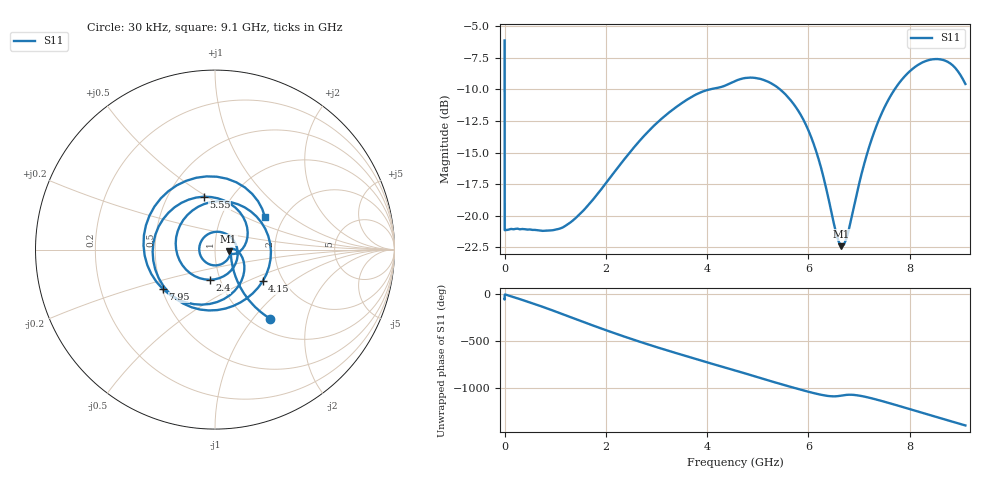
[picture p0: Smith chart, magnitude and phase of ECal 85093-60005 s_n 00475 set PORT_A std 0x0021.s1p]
!Created with skrf (http://scikit-rf.org).
# Hz S RI R 50.0
!freq ReS11 ImS11
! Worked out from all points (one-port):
!   252 points, 30 kHz to 9.1 GHz, reference 50 ohm
!   lowest |S11| = -22.4 dB at 6.65 GHz (marker M1), VSWR 1.16, Z = 58.1 - j1.07 ohm
!   |S11| at or under -10 dB: 53.13 kHz to 4.059 GHz (4.059 GHz wide, 200 % of centre); 5.437 GHz to 7.704 GHz (2.267 GHz wide, 34.5 % of centre)
!   S11 on the Smith chart (normalised r, x): 30 kHz: 1.21, -1.23; 2.4 GHz: 0.89, -0.31; 4.15 GHz: 1.57, -0.62; 5.55 GHz: 0.75, +0.48; 7.95 GHz: 0.51, -0.25; 9.1 GHz: 1.61, +0.65
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30000  0.3083 -0.3853
70000  0.1403 -0.2086
125000  0.1052 -0.1224
350000  0.0898 -0.0448
2750000  0.0875 -0.00628
5.5e8  -0.00976 -0.0874
1.15e9  -0.0748 0.05
1.85e9  0.1226 0.01
2.3e9  0.0237 -0.1593
2.4e9  -0.0297 -0.1681
2.95e9  -0.2163 0.0692
3.45e9  0.0514 0.2697
3.85e9  0.2966 0.0762
4.15e9  0.2655 -0.1767
4.6e9  -0.0827 -0.334
5.05e9  -0.3476 -0.012
5.55e9  -0.0636 0.2947
5.7e9  0.0524 0.2729
6.05e9  0.1822 0.0954
6.65e9  0.0752 -0.00914
6.85e9  0.098 0.00425
7.4e9  0.1309 -0.2033
7.7e9  -0.0728 -0.3069
7.95e9  -0.2915 -0.2187
8e9  -0.3262 -0.1799
8.3e9  -0.385 0.1346
8.65e9  -0.1045 0.4003
9.1e9  0.2783 0.1811
